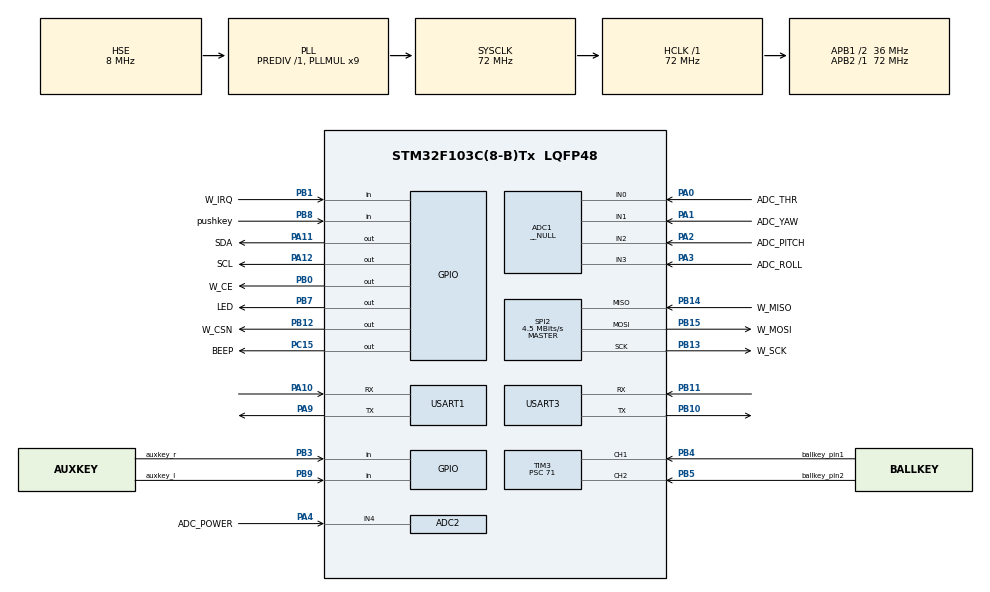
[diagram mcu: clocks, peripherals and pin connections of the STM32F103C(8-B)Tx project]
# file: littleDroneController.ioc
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ADC1.Channel-10\#ChannelInjectedConversion=ADC_CHANNEL_2
ADC1.Channel-11\#ChannelInjectedConversion=ADC_CHANNEL_3
ADC1.Channel-8\#ChannelInjectedConversion=ADC_CHANNEL_0
ADC1.Channel-9\#ChannelInjectedConversion=ADC_CHANNEL_1
ADC1.ContinuousConvMode=ENABLE
ADC1.DataAlign=ADC_DATAALIGN_RIGHT
ADC1.DiscontinuousConvMode=DISABLE
ADC1.EnableAnalogWatchDog=false
ADC1.EnableRegularConversion=DISABLE
ADC1.ExternalTrigInjecConv=ADC_INJECTED_SOFTWARE_START
ADC1.InjNumberOfConversion=4
ADC1.InjectedConvMode=None
ADC1.InjectedOffset-10\#ChannelInjectedConversion=0
ADC1.InjectedOffset-11\#ChannelInjectedConversion=0
ADC1.InjectedOffset-8\#ChannelInjectedConversion=0
ADC1.InjectedOffset-9\#ChannelInjectedConversion=0
ADC1.Mode=__NULL
ADC1.Rank-10\#ChannelInjectedConversion=3
ADC1.Rank-11\#ChannelInjectedConversion=4
ADC1.Rank-8\#ChannelInjectedConversion=1
ADC1.Rank-9\#ChannelInjectedConversion=2
ADC1.SamplingTime-10\#ChannelInjectedConversion=ADC_SAMPLETIME_7CYCLES_5
ADC1.SamplingTime-11\#ChannelInjectedConversion=ADC_SAMPLETIME_7CYCLES_5
ADC1.SamplingTime-8\#ChannelInjectedConversion=ADC_SAMPLETIME_7CYCLES_5
ADC1.SamplingTime-9\#ChannelInjectedConversion=ADC_SAMPLETIME_7CYCLES_5
ADC1.ScanConvMode=ADC_SCAN_ENABLE
ADC1.master=1
ADC2.Channel-3\#ChannelRegularConversion=ADC_CHANNEL_4
ADC2.ContinuousConvMode=ENABLE
ADC2.EnableRegularConversion=ENABLE
ADC2.NbrOfConversion=1
ADC2.NbrOfConversionFlag=1
ADC2.Rank-3\#ChannelRegularConversion=1
ADC2.SamplingTime-3\#ChannelRegularConversion=ADC_SAMPLETIME_239CYCLES_5
Mcu.Family=STM32F1
Mcu.Name=STM32F103C(8-B)Tx
Mcu.Package=LQFP48
NVIC.PriorityGroup=NVIC_PRIORITYGROUP_4
NVIC.TIM3_IRQn=true\:0\:0\:false\:true\:true\:1
PA0-WKUP.GPIO_Label=ADC_THR
PA0-WKUP.Signal=ADCx_IN0
PA1.GPIO_Label=ADC_YAW
PA1.Signal=ADCx_IN1
PA10.Mode=Asynchronous
PA10.Signal=USART1_RX
PA11.GPIO_Label=SDA
PA11.GPIO_Speed=GPIO_SPEED_FREQ_HIGH
PA11.PinState=GPIO_PIN_SET
PA11.Signal=GPIO_Output
PA12.GPIO_Label=SCL
PA12.GPIO_Speed=GPIO_SPEED_FREQ_HIGH
PA12.PinState=GPIO_PIN_SET
PA12.Signal=GPIO_Output
PA13.Mode=Serial_Wire
PA13.Signal=SYS_JTMS-SWDIO
PA14.Mode=Serial_Wire
PA14.Signal=SYS_JTCK-SWCLK
PA2.GPIO_Label=ADC_PITCH
PA2.Signal=ADCx_IN2
PA3.GPIO_Label=ADC_ROLL
PA3.Signal=ADCx_IN3
PA4.GPIO_Label=ADC_POWER
PA4.Signal=ADCx_IN4
PA9.Mode=Asynchronous
PA9.Signal=USART1_TX
PB0.GPIO_Label=W_CE
PB0.GPIO_Speed=GPIO_SPEED_FREQ_HIGH
PB0.PinState=GPIO_PIN_SET
PB0.Signal=GPIO_Output
PB1.GPIO_Label=W_IRQ
PB1.Signal=GPIO_Input
PB10.Mode=Asynchronous
PB10.Signal=USART3_TX
PB11.Mode=Asynchronous
PB11.Signal=USART3_RX
PB12.GPIO_Label=W_CSN
PB12.GPIO_Speed=GPIO_SPEED_FREQ_HIGH
PB12.PinState=GPIO_PIN_SET
PB12.Signal=GPIO_Output
PB13.GPIO_Label=W_SCK
PB13.Mode=Full_Duplex_Master
PB13.Signal=SPI2_SCK
PB14.GPIO_Label=W_MISO
PB14.GPIO_PuPd=GPIO_PULLUP
PB14.Mode=Full_Duplex_Master
PB14.Signal=SPI2_MISO
PB15.GPIO_Label=W_MOSI
PB15.Mode=Full_Duplex_Master
PB15.Signal=SPI2_MOSI
PB3.GPIO_Label=auxkey_r
PB3.GPIO_PuPd=GPIO_PULLUP
PB3.Signal=GPIO_Input
PB4.GPIO_Label=ballkey_pin1
PB4.GPIO_PuPd=GPIO_PULLUP
PB4.Signal=S_TIM3_CH1
PB5.GPIO_Label=ballkey_pin2
PB5.GPIO_PuPd=GPIO_PULLUP
PB5.Signal=S_TIM3_CH2
PB7.GPIO_Label=LED
PB7.Signal=GPIO_Output
PB8.GPIO_Label=pushkey
PB8.GPIO_PuPd=GPIO_PULLUP
PB8.Signal=GPIO_Input
PB9.GPIO_Label=auxkey_l
PB9.GPIO_PuPd=GPIO_PULLUP
PB9.Signal=GPIO_Input
PC15-OSC32_OUT.GPIO_Label=BEEP
PC15-OSC32_OUT.PinState=GPIO_PIN_SET
PC15-OSC32_OUT.Signal=GPIO_Output
PD0-OSC_IN.Mode=HSE-External-Oscillator
PD0-OSC_IN.Signal=RCC_OSC_IN
PD1-OSC_OUT.Mode=HSE-External-Oscillator
PD1-OSC_OUT.Signal=RCC_OSC_OUT
ProjectManager.HeapSize=0x200
ProjectManager.StackSize=0x400
ProjectManager.TargetToolchain=TrueSTUDIO
RCC.ADCPresc=RCC_ADCPCLK2_DIV6
RCC.AHBFreq_Value=72000000
RCC.APB1CLKDivider=RCC_HCLK_DIV2
RCC.APB1Freq_Value=36000000
RCC.APB1TimFreq_Value=72000000
RCC.APB2Freq_Value=72000000
RCC.APB2TimFreq_Value=72000000
RCC.HCLKFreq_Value=72000000
RCC.HSIState=RCC_HSI_ON
RCC.PLLMUL=RCC_PLL_MUL9
RCC.PLLSourceVirtual=RCC_PLLSOURCE_HSE
RCC.SYSCLKFreq_VALUE=72000000
RCC.SYSCLKSource=RCC_SYSCLKSOURCE_PLLCLK
RCC.USBFreq_Value=72000000
SH.ADCx_IN0.0=ADC1_IN0,IN0
SH.ADCx_IN1.0=ADC1_IN1,IN1
SH.ADCx_IN2.0=ADC1_IN2,IN2
SH.ADCx_IN3.0=ADC1_IN3,IN3
SH.ADCx_IN4.0=ADC2_IN4,IN4
SH.S_TIM3_CH1.0=TIM3_CH1,Input_Capture1_from_TI1
SH.S_TIM3_CH2.0=TIM3_CH2,Input_Capture2_from_TI2
SPI2.BaudRatePrescaler=SPI_BAUDRATEPRESCALER_8
SPI2.CalculateBaudRate=4.5 MBits/s
SPI2.Mode=SPI_MODE_MASTER
TIM3.Channel-Input_Capture2_from_TI2=TIM_CHANNEL_2
TIM3.ICPolarity_CH1=TIM_INPUTCHANNELPOLARITY_FALLING
TIM3.ICPolarity_CH2=TIM_INPUTCHANNELPOLARITY_FALLING
TIM3.Period=65535
TIM3.Prescaler=71
board=littleDroneController

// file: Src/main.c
/**
  ******************************************************************************
  * File Name          : main.c
  * Description        : Main program body
  ******************************************************************************
  *
  * COPYRIGHT(c) 2017 STMicroelectronics
  *
  * Redistribution and use in source and binary forms, with or without modification,
  * are permitted provided that the following conditions are met:
  *   1. Redistributions of source code must retain the above copyright notice,
  *      this list of conditions and the following disclaimer.
  *   2. Redistributions in binary form must reproduce the above copyright notice,
  *      this list of conditions and the following disclaimer in the documentation
  *      and/or other materials provided with the distribution.
  *   3. Neither the name of STMicroelectronics nor the names of its contributors
  *      may be used to endorse or promote products derived from this software
  *      without specific prior written permission.
  *
  * THIS SOFTWARE IS PROVIDED BY THE COPYRIGHT HOLDERS AND CONTRIBUTORS "AS IS"
  * AND ANY EXPRESS OR IMPLIED WARRANTIES, INCLUDING, BUT NOT LIMITED TO, THE
  * IMPLIED WARRANTIES OF MERCHANTABILITY AND FITNESS FOR A PARTICULAR PURPOSE ARE
  * DISCLAIMED. IN NO EVENT SHALL THE COPYRIGHT HOLDER OR CONTRIBUTORS BE LIABLE
  * FOR ANY DIRECT, INDIRECT, INCIDENTAL, SPECIAL, EXEMPLARY, OR CONSEQUENTIAL
  * DAMAGES (INCLUDING, BUT NOT LIMITED TO, PROCUREMENT OF SUBSTITUTE GOODS OR
  * SERVICES; LOSS OF USE, DATA, OR PROFITS; OR BUSINESS INTERRUPTION) HOWEVER
  * CAUSED AND ON ANY THEORY OF LIABILITY, WHETHER IN CONTRACT, STRICT LIABILITY,
  * OR TORT (INCLUDING NEGLIGENCE OR OTHERWISE) ARISING IN ANY WAY OUT OF THE USE
  * OF THIS SOFTWARE, EVEN IF ADVISED OF THE POSSIBILITY OF SUCH DAMAGE.
  *
  ******************************************************************************
  */
#include "main.h"
#include "stm32f1xx_hal.h"

/* USER CODE BEGIN Includes */
#include "nrf24l01.h"
#include "sys.h"
#include "delay.h"
#include "usart.h"
#include "HAL.h"
#include "config_tasks.h"
#include "scheduler.h"
#include "stmflash.h"

/* USER CODE END Includes */

ADC_HandleTypeDef hadc1;
ADC_HandleTypeDef hadc2;

SPI_HandleTypeDef hspi2;

TIM_HandleTypeDef htim3;

UART_HandleTypeDef huart1;
UART_HandleTypeDef huart3;

/* USER CODE BEGIN PV */
/* Private variables ---------------------------------------------------------*/

/* USER CODE END PV */

void SystemClock_Config(void);
void Error_Handler(void);
static void MX_GPIO_Init(void);
static void MX_ADC1_Init(void);
static void MX_ADC2_Init(void);
static void MX_USART1_UART_Init(void);
static void MX_SPI2_Init(void);
static void MX_USART3_UART_Init(void);
static void MX_TIM3_Init(void);
static void MX_NVIC_Init(void);

/* USER CODE BEGIN PFP */
/* Private function prototypes -----------------------------------------------*/

/* USER CODE END PFP */

/* USER CODE BEGIN 0 */
void init(void)
{
	rc_init();

	while(NRF24L01_Check()){
		SendChar("nrf ing\r\n");
		delay_ms(500);
	}
	SendChar("nrf ok\r\n");

	EE_READ_RC_TX_ADDR();
	if(TX_ADDRESS[4] == 255)TX_ADDRESS[4] = (uint8_t)micros() % 255;
	delay_ms(5);
	NRF24L01_TX_Mode();

	//EE_READ_RC_SET();
}
/* USER CODE END 0 */

int main(void)
{

  /* MCU Configuration----------------------------------------------------------*/

  /* Reset of all peripherals, Initializes the Flash interface and the Systick. */
  HAL_Init();

  /* Configure the system clock */
  SystemClock_Config();

  /* Initialize all configured peripherals */
  MX_GPIO_Init();
  MX_ADC1_Init();
  MX_ADC2_Init();
  MX_USART1_UART_Init();
  MX_SPI2_Init();
  MX_USART3_UART_Init();
  MX_TIM3_Init();

  /* Initialize interrupts */
  MX_NVIC_Init();

  /* USER CODE BEGIN 2 */

  init();

  configureScheduler();
  /* USER CODE END 2 */

  /* Infinite loop */
  /* USER CODE BEGIN WHILE */
  rc.value[0] = 2000;
  rc.value[1] = 2000;
  rc.value[2] = 2000;
  rc.value[3] = 2000;
  rc.value[4] = 2000;
  rc.value[5] = 2000;
  rc.value[6] = 2000;
  rc.value[7] = 2000;

	HAL_ADC_Start(&hadc2);

  	HAL_ADCEx_Calibration_Start(&hadc1);

//	HAL_DMA_PollForTransfer();
  while (1)
  {
  /* USER CODE END WHILE */

  /* USER CODE BEGIN 3 */
	  scheduler();
  }
  /* USER CODE END 3 */

}

/** System Clock Configuration
*/
void SystemClock_Config(void)
{

  RCC_OscInitTypeDef RCC_OscInitStruct;
  RCC_ClkInitTypeDef RCC_ClkInitStruct;
  RCC_PeriphCLKInitTypeDef PeriphClkInit;

    /**Initializes the CPU, AHB and APB busses clocks
    */
  RCC_OscInitStruct.OscillatorType = RCC_OSCILLATORTYPE_HSE;
  RCC_OscInitStruct.HSEState = RCC_HSE_ON;
  RCC_OscInitStruct.HSEPredivValue = RCC_HSE_PREDIV_DIV1;
  RCC_OscInitStruct.HSIState = RCC_HSI_ON;
  RCC_OscInitStruct.PLL.PLLState = RCC_PLL_ON;
  RCC_OscInitStruct.PLL.PLLSource = RCC_PLLSOURCE_HSE;
  RCC_OscInitStruct.PLL.PLLMUL = RCC_PLL_MUL9;
  if (HAL_RCC_OscConfig(&RCC_OscInitStruct) != HAL_OK)
  {
    Error_Handler();
  }

    /**Initializes the CPU, AHB and APB busses clocks
    */
  RCC_ClkInitStruct.ClockType = RCC_CLOCKTYPE_HCLK|RCC_CLOCKTYPE_SYSCLK
                              |RCC_CLOCKTYPE_PCLK1|RCC_CLOCKTYPE_PCLK2;
  RCC_ClkInitStruct.SYSCLKSource = RCC_SYSCLKSOURCE_PLLCLK;
  RCC_ClkInitStruct.AHBCLKDivider = RCC_SYSCLK_DIV1;
  RCC_ClkInitStruct.APB1CLKDivider = RCC_HCLK_DIV2;
  RCC_ClkInitStruct.APB2CLKDivider = RCC_HCLK_DIV1;

  if (HAL_RCC_ClockConfig(&RCC_ClkInitStruct, FLASH_LATENCY_2) != HAL_OK)
  {
    Error_Handler();
  }

  PeriphClkInit.PeriphClockSelection = RCC_PERIPHCLK_ADC;
  PeriphClkInit.AdcClockSelection = RCC_ADCPCLK2_DIV6;
  if (HAL_RCCEx_PeriphCLKConfig(&PeriphClkInit) != HAL_OK)
  {
    Error_Handler();
  }

    /**Configure the Systick interrupt time
    */
  HAL_SYSTICK_Config(HAL_RCC_GetHCLKFreq()/1000);

    /**Configure the Systick
    */
  HAL_SYSTICK_CLKSourceConfig(SYSTICK_CLKSOURCE_HCLK);

  /* SysTick_IRQn interrupt configuration */
  HAL_NVIC_SetPriority(SysTick_IRQn, 0, 0);
}

/** NVIC Configuration
*/
static void MX_NVIC_Init(void)
{
  /* TIM3_IRQn interrupt configuration */
  HAL_NVIC_SetPriority(TIM3_IRQn, 0, 0);
  HAL_NVIC_EnableIRQ(TIM3_IRQn);
}

/* ADC1 init function */
static void MX_ADC1_Init(void)
{

  ADC_InjectionConfTypeDef sConfigInjected;

    /**Common config
    */
  hadc1.Instance = ADC1;
  hadc1.Init.ScanConvMode = ADC_SCAN_ENABLE;
  hadc1.Init.ContinuousConvMode = ENABLE;
  hadc1.Init.DiscontinuousConvMode = DISABLE;
  hadc1.Init.DataAlign = ADC_DATAALIGN_RIGHT;
  hadc1.Init.NbrOfConversion = 1;
  if (HAL_ADC_Init(&hadc1) != HAL_OK)
  {
    Error_Handler();
  }

    /**Configure Injected Channel
    */
  sConfigInjected.InjectedChannel = ADC_CHANNEL_0;
  sConfigInjected.InjectedRank = 1;
  sConfigInjected.InjectedNbrOfConversion = 4;
  sConfigInjected.InjectedSamplingTime = ADC_SAMPLETIME_7CYCLES_5;
  sConfigInjected.ExternalTrigInjecConv = ADC_INJECTED_SOFTWARE_START;
  sConfigInjected.AutoInjectedConv = DISABLE;
  sConfigInjected.InjectedDiscontinuousConvMode = DISABLE;
  sConfigInjected.InjectedOffset = 0;
  if (HAL_ADCEx_InjectedConfigChannel(&hadc1, &sConfigInjected) != HAL_OK)
  {
    Error_Handler();
  }

    /**Configure Injected Channel
    */
  sConfigInjected.InjectedChannel = ADC_CHANNEL_1;
  sConfigInjected.InjectedRank = 2;
  if (HAL_ADCEx_InjectedConfigChannel(&hadc1, &sConfigInjected) != HAL_OK)
  {
    Error_Handler();
  }

    /**Configure Injected Channel
    */
  sConfigInjected.InjectedChannel = ADC_CHANNEL_2;
  sConfigInjected.InjectedRank = 3;
  if (HAL_ADCEx_InjectedConfigChannel(&hadc1, &sConfigInjected) != HAL_OK)
  {
    Error_Handler();
  }

    /**Configure Injected Channel
    */
  sConfigInjected.InjectedChannel = ADC_CHANNEL_3;
  sConfigInjected.InjectedRank = 4;
  if (HAL_ADCEx_InjectedConfigChannel(&hadc1, &sConfigInjected) != HAL_OK)
  {
    Error_Handler();
  }

}

/* ADC2 init function */
static void MX_ADC2_Init(void)
{

  ADC_ChannelConfTypeDef sConfig;

    /**Common config
    */
  hadc2.Instance = ADC2;
  hadc2.Init.ScanConvMode = ADC_SCAN_DISABLE;
  hadc2.Init.ContinuousConvMode = ENABLE;
  hadc2.Init.DiscontinuousConvMode = DISABLE;
  hadc2.Init.ExternalTrigConv = ADC_SOFTWARE_START;
  hadc2.Init.DataAlign = ADC_DATAALIGN_RIGHT;
  hadc2.Init.NbrOfConversion = 1;
  if (HAL_ADC_Init(&hadc2) != HAL_OK)
  {
    Error_Handler();
  }

    /**Configure Regular Channel
    */
  sConfig.Channel = ADC_CHANNEL_4;
  sConfig.Rank = 1;
  sConfig.SamplingTime = ADC_SAMPLETIME_239CYCLES_5;
  if (HAL_ADC_ConfigChannel(&hadc2, &sConfig) != HAL_OK)
  {
    Error_Handler();
  }

}

/* SPI2 init function */
static void MX_SPI2_Init(void)
{

  hspi2.Instance = SPI2;
  hspi2.Init.Mode = SPI_MODE_MASTER;
  hspi2.Init.Direction = SPI_DIRECTION_2LINES;
  hspi2.Init.DataSize = SPI_DATASIZE_8BIT;
  hspi2.Init.CLKPolarity = SPI_POLARITY_LOW;
  hspi2.Init.CLKPhase = SPI_PHASE_1EDGE;
  hspi2.Init.NSS = SPI_NSS_SOFT;
  hspi2.Init.BaudRatePrescaler = SPI_BAUDRATEPRESCALER_8;
  hspi2.Init.FirstBit = SPI_FIRSTBIT_MSB;
  hspi2.Init.TIMode = SPI_TIMODE_DISABLE;
  hspi2.Init.CRCCalculation = SPI_CRCCALCULATION_DISABLE;
  hspi2.Init.CRCPolynomial = 10;
  if (HAL_SPI_Init(&hspi2) != HAL_OK)
  {
    Error_Handler();
  }

}

/* TIM3 init function */
static void MX_TIM3_Init(void)
{

  TIM_MasterConfigTypeDef sMasterConfig;
  TIM_IC_InitTypeDef sConfigIC;

  htim3.Instance = TIM3;
  htim3.Init.Prescaler = 71;
  htim3.Init.CounterMode = TIM_COUNTERMODE_UP;
  htim3.Init.Period = 65535;
  htim3.Init.ClockDivision = TIM_CLOCKDIVISION_DIV1;
  if (HAL_TIM_IC_Init(&htim3) != HAL_OK)
  {
    Error_Handler();
  }

  sMasterConfig.MasterOutputTrigger = TIM_TRGO_RESET;
  sMasterConfig.MasterSlaveMode = TIM_MASTERSLAVEMODE_DISABLE;
  if (HAL_TIMEx_MasterConfigSynchronization(&htim3, &sMasterConfig) != HAL_OK)
  {
    Error_Handler();
  }

  sConfigIC.ICPolarity = TIM_INPUTCHANNELPOLARITY_FALLING;
  sConfigIC.ICSelection = TIM_ICSELECTION_DIRECTTI;
  sConfigIC.ICPrescaler = TIM_ICPSC_DIV1;
  sConfigIC.ICFilter = 0;
  if (HAL_TIM_IC_ConfigChannel(&htim3, &sConfigIC, TIM_CHANNEL_1) != HAL_OK)
  {
    Error_Handler();
  }

  if (HAL_TIM_IC_ConfigChannel(&htim3, &sConfigIC, TIM_CHANNEL_2) != HAL_OK)
  {
    Error_Handler();
  }

}

/* USART1 init function */
static void MX_USART1_UART_Init(void)
{

  huart1.Instance = USART1;
  huart1.Init.BaudRate = 115200;
  huart1.Init.WordLength = UART_WORDLENGTH_8B;
  huart1.Init.StopBits = UART_STOPBITS_1;
  huart1.Init.Parity = UART_PARITY_NONE;
  huart1.Init.Mode = UART_MODE_TX_RX;
  huart1.Init.HwFlowCtl = UART_HWCONTROL_NONE;
  huart1.Init.OverSampling = UART_OVERSAMPLING_16;
  if (HAL_UART_Init(&huart1) != HAL_OK)
  {
    Error_Handler();
  }

}

/* USART3 init function */
static void MX_USART3_UART_Init(void)
{

  huart3.Instance = USART3;
  huart3.Init.BaudRate = 115200;
  huart3.Init.WordLength = UART_WORDLENGTH_8B;
  huart3.Init.StopBits = UART_STOPBITS_1;
  huart3.Init.Parity = UART_PARITY_NONE;
  huart3.Init.Mode = UART_MODE_TX_RX;
  huart3.Init.HwFlowCtl = UART_HWCONTROL_NONE;
  huart3.Init.OverSampling = UART_OVERSAMPLING_16;
  if (HAL_UART_Init(&huart3) != HAL_OK)
  {
    Error_Handler();
  }

}

/** Configure pins as
        * Analog
        * Input
        * Output
        * EVENT_OUT
        * EXTI
*/
static void MX_GPIO_Init(void)
{

  GPIO_InitTypeDef GPIO_InitStruct;

  /* GPIO Ports Clock Enable */
  __HAL_RCC_GPIOC_CLK_ENABLE();
  __HAL_RCC_GPIOD_CLK_ENABLE();
  __HAL_RCC_GPIOA_CLK_ENABLE();
  __HAL_RCC_GPIOB_CLK_ENABLE();

  /*Configure GPIO pin Output Level */
  HAL_GPIO_WritePin(BEEP_GPIO_Port, BEEP_Pin, GPIO_PIN_SET);

  /*Configure GPIO pin Output Level */
  HAL_GPIO_WritePin(GPIOB, W_CE_Pin|W_CSN_Pin, GPIO_PIN_SET);

  /*Configure GPIO pin Output Level */
  HAL_GPIO_WritePin(GPIOA, SDA_Pin|SCL_Pin, GPIO_PIN_SET);

  /*Configure GPIO pin Output Level */
  HAL_GPIO_WritePin(LED_GPIO_Port, LED_Pin, GPIO_PIN_RESET);

  /*Configure GPIO pin : BEEP_Pin */
  GPIO_InitStruct.Pin = BEEP_Pin;
  GPIO_InitStruct.Mode = GPIO_MODE_OUTPUT_PP;
  GPIO_InitStruct.Speed = GPIO_SPEED_FREQ_LOW;
  HAL_GPIO_Init(BEEP_GPIO_Port, &GPIO_InitStruct);

  /*Configure GPIO pins : W_CE_Pin W_CSN_Pin */
  GPIO_InitStruct.Pin = W_CE_Pin|W_CSN_Pin;
  GPIO_InitStruct.Mode = GPIO_MODE_OUTPUT_PP;
  GPIO_InitStruct.Speed = GPIO_SPEED_FREQ_HIGH;
  HAL_GPIO_Init(GPIOB, &GPIO_InitStruct);

  /*Configure GPIO pin : W_IRQ_Pin */
  GPIO_InitStruct.Pin = W_IRQ_Pin;
  GPIO_InitStruct.Mode = GPIO_MODE_INPUT;
  GPIO_InitStruct.Pull = GPIO_NOPULL;
  HAL_GPIO_Init(W_IRQ_GPIO_Port, &GPIO_InitStruct);

  /*Configure GPIO pins : SDA_Pin SCL_Pin */
  GPIO_InitStruct.Pin = SDA_Pin|SCL_Pin;
  GPIO_InitStruct.Mode = GPIO_MODE_OUTPUT_PP;
  GPIO_InitStruct.Speed = GPIO_SPEED_FREQ_HIGH;
  HAL_GPIO_Init(GPIOA, &GPIO_InitStruct);

  /*Configure GPIO pins : auxkey_r_Pin pushkey_Pin auxkey_l_Pin */
  GPIO_InitStruct.Pin = auxkey_r_Pin|pushkey_Pin|auxkey_l_Pin;
  GPIO_InitStruct.Mode = GPIO_MODE_INPUT;
  GPIO_InitStruct.Pull = GPIO_PULLUP;
  HAL_GPIO_Init(GPIOB, &GPIO_InitStruct);

  /*Configure GPIO pin : LED_Pin */
  GPIO_InitStruct.Pin = LED_Pin;
  GPIO_InitStruct.Mode = GPIO_MODE_OUTPUT_PP;
  GPIO_InitStruct.Speed = GPIO_SPEED_FREQ_LOW;
  HAL_GPIO_Init(LED_GPIO_Port, &GPIO_InitStruct);

}

void Error_Handler(void)
{
  while(1)
  {
  }
}

/************************ (C) COPYRIGHT STMicroelectronics *****END OF FILE****/
